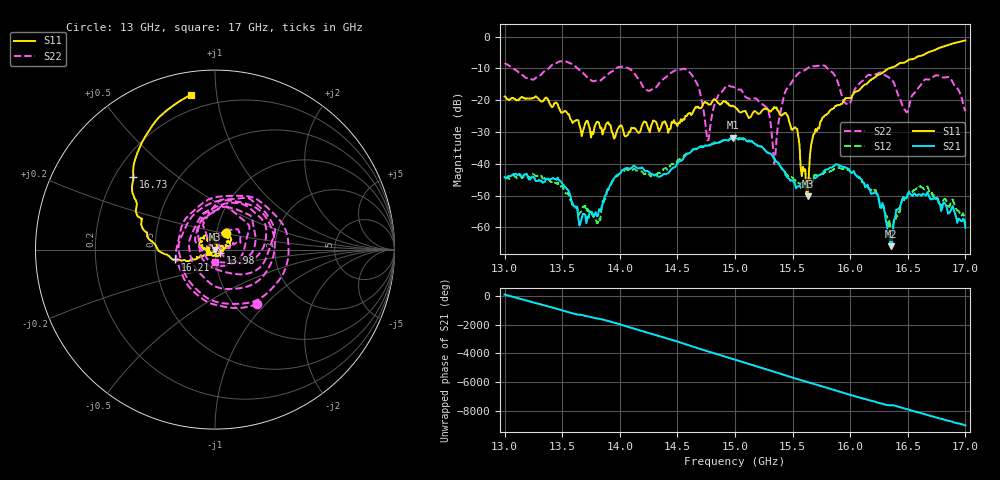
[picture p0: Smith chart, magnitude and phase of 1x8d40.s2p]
!Keysight Technologies,P9374A,MY57211807,A.19.30.04
!Date: Friday, May 08, 2026 15:20:08
!Correction: S11(C  2-Port  )
!S21(C  2-Port  )
!S12(C  2-Port  )
!S22(C  2-Port  )
!S2P File: Measurements: S11, S21, S12, S22:
# Hz S  dB  R 50
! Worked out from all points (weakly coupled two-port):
!   401 points, 13 GHz to 17 GHz, reference 50 ohm
!   highest |S21| = -31.80 dB at 14.98 GHz (marker M1); lowest = -65.9 dB at 16.35 GHz (marker M2)
!   lowest |S11| = -50.3 dB at 15.63 GHz (marker M3), VSWR 1.01, Z = 49.7 - j0.126 ohm
!   |S11| at or under -10 dB: start of sweep to 16.33 GHz
!   |S22| runs from -40.0 to -7.7 dB; largest |S21 - S12| = 0.0019
!   S11 on the Smith chart (normalised r, x): 13 GHz: 1.11, +0.21; 13.98 GHz: 1.06, -0.04; 16.21 GHz: 0.64, -0.07; 16.73 GHz: 0.27, +0.36; 17 GHz: 0.12, +0.85
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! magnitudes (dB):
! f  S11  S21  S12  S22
! 13 GHz  -18.8  -44.2  -44.4  -8.3
! 13.47 GHz  -22.3  -45.1  -47.1  -7.9
! 13.67 GHz  -31.3  -57.1  -54.9  -11.0
! 13.81 GHz  -26.8  -56.4  -58.6  -13.9
! 13.98 GHz  -29.2  -43.5  -43.9  -9.7
! 14.34 GHz  -29.7  -44.1  -42.9  -14.7
! 14.61 GHz  -24.0  -36.5  -36.4  -11.4
! 14.77 GHz  -21.3  -34.2  -33.9  -32.5
! 14.98 GHz  -21.7  -31.8  -32.1  -15.7
! 15 GHz  -22.1  -32.1  -32.3  -16.1
! 15.27 GHz  -22.8  -36.1  -36.1  -22.1
! 15.34 GHz  -22.1  -38.4  -38.5  -40.0
! 15.44 GHz  -23.9  -43.6  -43.0  -17.0
! 15.63 GHz  -50.3  -46.4  -45.4  -9.9
! 15.67 GHz  -32.5  -46.0  -45.2  -9.3
! 15.98 GHz  -19.3  -41.5  -42.0  -21.4
! 16.21 GHz  -12.9  -49.0  -48.2  -11.9
! 16.34 GHz  -9.9  -61.6  -58.0  -12.9
! 16.35 GHz  -9.8  -65.9  -60.1  -13.2
! 16.49 GHz  -7.7  -50.8  -50.6  -23.8
! 16.73 GHz  -4.3  -50.4  -49.9  -12.4
! 17 GHz  -1.2  -60.2  -59.3  -23.4
